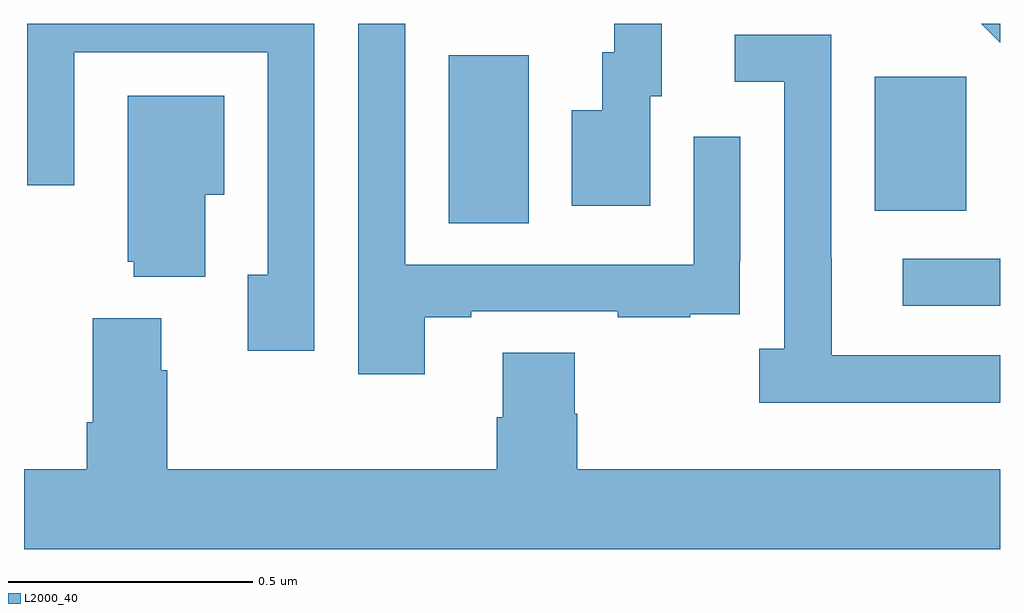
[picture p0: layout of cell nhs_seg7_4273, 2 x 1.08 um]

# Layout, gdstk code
import gdstk
lib = gdstk.Library(unit=1e-6, precision=1e-09)
def R(c, l, rs):  # rectangles x0, y0, x1, y1
    for r in rs: c.add(gdstk.rectangle(r[:2], r[2:], *l))
def P(c, l, *ps):  # polygons
    for p in ps: c.add(gdstk.Polygon(p, *l))
L2000_40 = (2000, 40)

nhs_seg7_4273 = lib.new_cell('nhs_seg7_4273')
R(nhs_seg7_4273, L2000_40, [(171.801,1026.423,172,1026.519), (170.87,1026.592,171.034,1026.936), (171.743,1026.617,171.931,1026.892)])
P(nhs_seg7_4273, L2000_40, [(170.821,1026.399),(170.917,1026.399),(170.917,1026.411),(171.217,1026.411),(171.217,1026.399),(171.365,1026.399),(171.365,1026.405),(171.467,1026.405),(171.467,1026.514),(171.468,1026.514),(171.468,1026.769),(171.372,1026.769),(171.372,1026.507),(170.781,1026.507),(170.781,1027),(170.685,1027),(170.685,1026.282),(170.821,1026.282)],
  [(171.283,1026.852),(171.307,1026.852),(171.307,1027),(171.21,1027),(171.21,1026.942),(171.185,1026.942),(171.185,1026.823),(171.122,1026.823),(171.122,1026.627),(171.283,1026.627)],
  [(172,1027),(171.962,1027),(172,1026.962)],
  [(170.595,1027),(170.007,1027),(170.007,1026.669),(170.103,1026.669),(170.103,1026.942),(170.499,1026.942),(170.499,1026.486),(170.459,1026.486),(170.459,1026.33),(170.595,1026.33)],
  [(172,1026.321),(171.655,1026.321),(171.655,1026.521),(171.654,1026.521),(171.654,1026.978),(171.456,1026.978),(171.456,1026.882),(171.558,1026.882),(171.558,1026.334),(171.507,1026.334),(171.507,1026.224),(172,1026.224)],
  [(170.371,1026.65),(170.41,1026.65),(170.41,1026.853),(170.213,1026.853),(170.213,1026.513),(170.225,1026.513),(170.225,1026.482),(170.371,1026.482)],
  [(172,1026.088),(171.134,1026.088),(171.134,1026.201),(171.129,1026.201),(171.129,1026.326),(170.981,1026.326),(170.981,1026.194),(170.969,1026.194),(170.969,1026.088),(170.294,1026.088),(170.294,1026.29),(170.281,1026.29),(170.281,1026.397),(170.141,1026.397),(170.141,1026.184),(170.129,1026.184),(170.129,1026.088),(170,1026.088),(170,1025.924),(172,1025.924)])

lib.write_gds('nhs_seg7_4273.gds')
